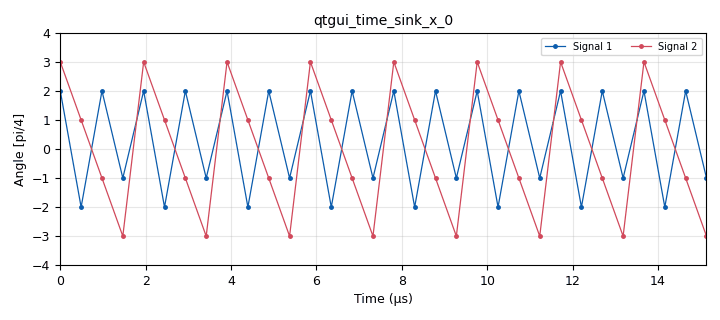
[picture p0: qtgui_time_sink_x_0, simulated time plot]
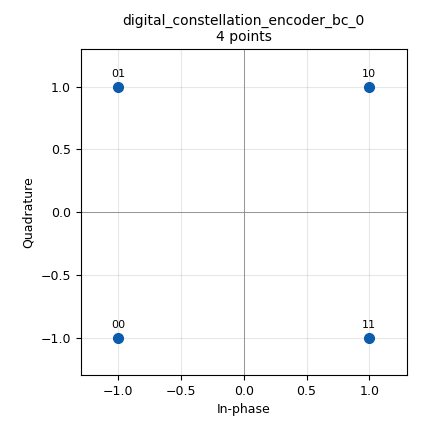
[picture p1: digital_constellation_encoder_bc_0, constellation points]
options:
  parameters:
    author: Lydia Ali Ahmed & Dalina Chabane
    generate_options: qt_gui
    id: OFDM_wav_TS_step_03_04_C
    output_language: python
    title: OFDM_wav_TS_step_03_04_C
  states: {}

blocks:
- name: samp_rate
  id: variable
  parameters:
    value: '2048000'
  states: {}
- name: subCarr_K
  id: variable
  parameters:
    value: '4'
  states: {}
- name: my_const_1
  id: variable_constellation
  parameters:
    const_points: '[-1-1j, -1+1j, 1+1j, 1-1j]'
    dims: '1'
    normalization: digital.constellation.NO_NORMALIZATION
    precision: '8'
    rot_sym: '4'
    sym_map: '[0, 1, 3, 2]'
    type: calcdist
  states: {}
- name: my_const_2
  id: variable_constellation
  parameters:
    const_points: '[-1-1j, -1+1j, 1+1j, 1-1j]'
    dims: '1'
    normalization: digital.constellation.NO_NORMALIZATION
    precision: '8'
    rot_sym: '4'
    sym_map: '[0, 1, 3, 2]'
    type: calcdist
  states: {}
- name: blocks_vector_source_x_0
  id: blocks_vector_source_x
  parameters:
    comment: Sequence fixe [00,01,10,11]
    repeat: 'True'
    type: byte
    vector: '[0, 1, 2, 3]'
  states: {}
- name: blocks_throttle2_0
  id: blocks_throttle2
  parameters:
    samples_per_second: samp_rate
    type: byte
  states: {}
- name: digital_constellation_encoder_bc_0
  id: digital_constellation_encoder_bc
  parameters:
    constellation: my_const_1
  states: {}
- name: blocks_stream_to_tagged_stream_0
  id: blocks_stream_to_tagged_stream
  parameters:
    comment: Tag packet_len=4 pour synchro
    len_tag_key: packet_len
    packet_len: '4'
    type: complex
  states: {}
- name: blocks_multiply_const_vxx_0
  id: blocks_multiply_const_vxx
  parameters:
    comment: Decalage pi/4
    const: 0.707106781+0.707106781j
    type: complex
  states: {}
- name: analog_const_source_x_0
  id: analog_const_source_x
  parameters:
    comment: Symbole pilote e^(j*pi/4)
    const: 0.707106781+0.707106781j
    type: complex
  states: {}
- name: blocks_stream_mux_0
  id: blocks_stream_mux
  parameters:
    lengths: (1, 4)
    type: complex
  states: {}
- name: blocks_delay_0
  id: blocks_delay
  parameters:
    comment: Memoire differentielle
    delay: '1'
    type: complex
  states: {}
- name: blocks_multiply_xx_0
  id: blocks_multiply_xx
  parameters:
    comment: Encodage differentiel
    type: complex
  states: {}
- name: blocks_stream_demux_0
  id: blocks_stream_demux
  parameters:
    lengths: (1, 4)
    type: complex
  states: {}
- name: blocks_null_sink_0
  id: blocks_null_sink
  parameters:
    comment: Jette le pilote
    type: complex
  states: {}
- name: blocks_complex_to_arg_0
  id: blocks_complex_to_arg
  parameters:
    comment: Phase pi/4-DQPSK module
  states: {}
- name: blocks_multiply_const_vxx_1
  id: blocks_multiply_const_vxx
  parameters:
    comment: Normalise en unites de pi/4
    const: '1.27324'
    type: float
  states: {}
- name: blocks_vector_source_x_0_0
  id: blocks_vector_source_x
  parameters:
    comment: QPSK ref pour comparaison
    repeat: 'True'
    type: byte
    vector: '[0, 1, 2, 3]'
  states: {}
- name: digital_constellation_encoder_bc_0_0
  id: digital_constellation_encoder_bc
  parameters:
    comment: QPSK ref
    constellation: my_const_2
  states: {}
- name: blocks_complex_to_arg_0_0
  id: blocks_complex_to_arg
  parameters:
    comment: Phase QPSK ref
  states: {}
- name: blocks_multiply_const_vxx_2
  id: blocks_multiply_const_vxx
  parameters:
    comment: Normalise QPSK ref
    const: '1.27324'
    type: float
  states: {}
- name: qtgui_time_sink_x_0
  id: qtgui_time_sink_x
  parameters:
    ctrlpanel: 'True'
    grid: 'True'
    marker1: '1'
    marker2: '1'
    nconnections: '2'
    size: '32'
    srate: samp_rate
    tr_mode: qtgui.TRIG_MODE_TAG
    tr_tag: '"packet_len"'
    type: float
    ylabel: Angle [pi/4]
    ymax: '4'
    ymin: '-4'
  states: {}

connections:
- [blocks_vector_source_x_0, '0', blocks_throttle2_0, '0']
- [blocks_throttle2_0, '0', digital_constellation_encoder_bc_0, '0']
- [digital_constellation_encoder_bc_0, '0', blocks_stream_to_tagged_stream_0, '0']
- [blocks_stream_to_tagged_stream_0, '0', blocks_multiply_const_vxx_0, '0']
- [blocks_multiply_const_vxx_0, '0', blocks_stream_mux_0, '1']
- [analog_const_source_x_0, '0', blocks_stream_mux_0, '0']
- [blocks_stream_mux_0, '0', blocks_delay_0, '0']
- [blocks_stream_mux_0, '0', blocks_multiply_xx_0, '0']
- [blocks_delay_0, '0', blocks_multiply_xx_0, '1']
- [blocks_multiply_xx_0, '0', blocks_stream_demux_0, '0']
- [blocks_stream_demux_0, '0', blocks_null_sink_0, '0']
- [blocks_stream_demux_0, '1', blocks_complex_to_arg_0, '0']
- [blocks_complex_to_arg_0, '0', blocks_multiply_const_vxx_1, '0']
- [blocks_multiply_const_vxx_1, '0', qtgui_time_sink_x_0, '0']
- [blocks_vector_source_x_0_0, '0', digital_constellation_encoder_bc_0_0, '0']
- [digital_constellation_encoder_bc_0_0, '0', blocks_complex_to_arg_0_0, '0']
- [blocks_complex_to_arg_0_0, '0', blocks_multiply_const_vxx_2, '0']
- [blocks_multiply_const_vxx_2, '0', qtgui_time_sink_x_0, '1']

metadata:
  file_format: 1
  grc_version: 3.10.10.0
